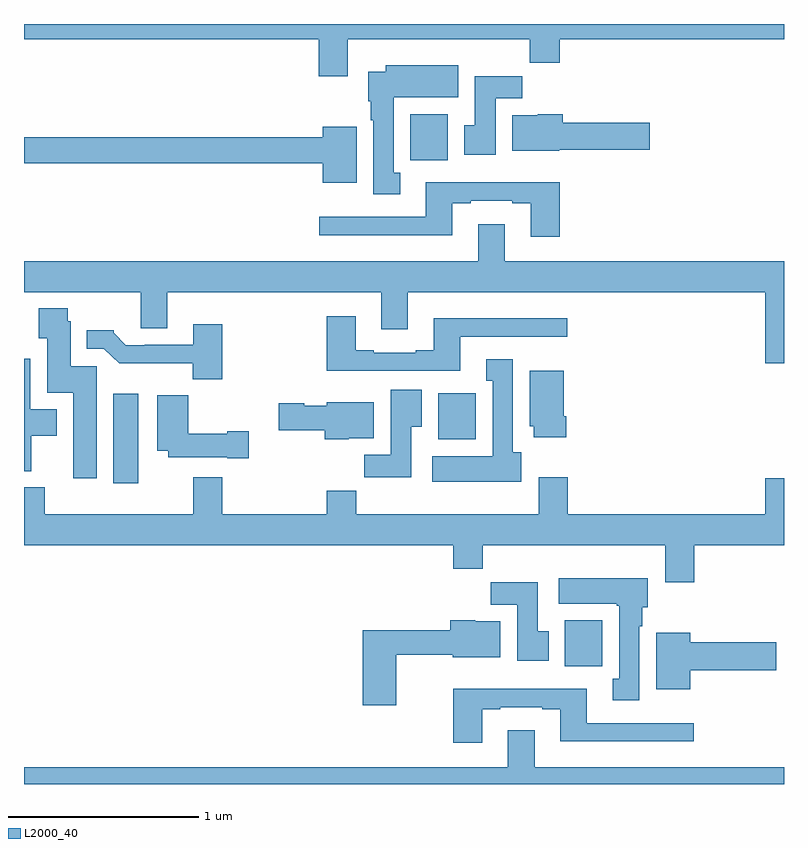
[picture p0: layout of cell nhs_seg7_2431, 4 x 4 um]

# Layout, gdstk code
import gdstk
lib = gdstk.Library(unit=1e-6, precision=1e-09)
def R(c, l, rs):  # rectangles x0, y0, x1, y1
    for r in rs: c.add(gdstk.rectangle(r[:2], r[2:], *l))
def P(c, l, *ps):  # polygons
    for p in ps: c.add(gdstk.Polygon(p, *l))
L2000_40 = (2000, 40)

nhs_seg7_2431 = lib.new_cell('nhs_seg7_2431')
R(nhs_seg7_2431, L2000_40, [(271.847,1026.62,272.044,1026.862), (269.471,1027.584,269.602,1028.053), (271.181,1027.814,271.378,1028.056), (271.034,1029.284,271.231,1029.526)])
P(nhs_seg7_2431, L2000_40, [(270.703,1029.92),(271.663,1029.92),(271.663,1029.796),(271.82,1029.796),(271.82,1029.92),(273,1029.92),(273,1030),(269,1030),(269,1029.92),(270.551,1029.92),(270.551,1029.726),(270.703,1029.726)],
  [(270.979,1029.218),(270.946,1029.218),(270.946,1029.614),(271.285,1029.614),(271.285,1029.784),(270.905,1029.784),(270.905,1029.748),(270.812,1029.748),(270.812,1029.594),(270.824,1029.594),(270.824,1029.494),(270.839,1029.494),(270.839,1029.105),(270.979,1029.105)],
  [(271.483,1029.608),(271.622,1029.608),(271.622,1029.726),(271.373,1029.726),(271.373,1029.468),(271.316,1029.468),(271.316,1029.312),(271.483,1029.312)],
  [(271.818,1029.338),(272.293,1029.338),(272.293,1029.48),(271.835,1029.48),(271.835,1029.526),(271.704,1029.526),(271.704,1029.52),(271.571,1029.52),(271.571,1029.332),(271.818,1029.332)],
  [(270.751,1029.46),(270.572,1029.46),(270.572,1029.404),(269,1029.404),(269,1029.268),(270.572,1029.268),(270.572,1029.164),(270.751,1029.164)],
  [(271.82,1029.166),(271.115,1029.166),(271.115,1028.985),(270.555,1028.985),(270.555,1028.888),(271.255,1028.888),(271.255,1029.057),(271.351,1029.057),(271.351,1029.069),(271.571,1029.069),(271.571,1029.057),(271.667,1029.057),(271.667,1028.88),(271.82,1028.88)],
  [(273,1028.752),(271.531,1028.752),(271.531,1028.947),(271.391,1028.947),(271.391,1028.752),(269,1028.752),(269,1028.588),(269.615,1028.588),(269.615,1028.398),(269.755,1028.398),(269.755,1028.588),(270.881,1028.588),(270.881,1028.394),(271.021,1028.394),(271.021,1028.588),(272.9,1028.588),(272.9,1028.214),(273,1028.214)],
  [(269.383,1028.199),(269.245,1028.199),(269.245,1028.436),(269.229,1028.436),(269.229,1028.503),(269.077,1028.503),(269.077,1028.347),(269.123,1028.347),(269.123,1028.06),(269.258,1028.06),(269.258,1027.608),(269.383,1027.608)],
  [(270.833,1028.175),(271.297,1028.175),(271.297,1028.355),(271.858,1028.355),(271.858,1028.452),(271.157,1028.452),(271.157,1028.284),(271.061,1028.284),(271.061,1028.271),(270.841,1028.271),(270.841,1028.284),(270.745,1028.284),(270.745,1028.461),(270.593,1028.461),(270.593,1028.174),(270.833,1028.174)],
  [(270.044,1028.419),(269.891,1028.419),(269.891,1028.313),(269.635,1028.313),(269.635,1028.31),(269.536,1028.31),(269.472,1028.374),(269.472,1028.389),(269.33,1028.389),(269.33,1028.292),(269.421,1028.292),(269.5,1028.214),(269.889,1028.214),(269.889,1028.129),(270.044,1028.129)],
  [(269.037,1027.832),(269.173,1027.832),(269.173,1027.972),(269.034,1027.972),(269.034,1028.239),(269,1028.239),(269,1027.646),(269.037,1027.646)],
  [(271.618,1027.746),(271.573,1027.746),(271.573,1028.236),(271.433,1028.236),(271.433,1028.123),(271.466,1028.123),(271.466,1027.726),(271.149,1027.726),(271.149,1027.592),(271.618,1027.592)],
  [(271.853,1027.936),(271.84,1027.936),(271.84,1028.176),(271.661,1028.176),(271.661,1027.884),(271.682,1027.884),(271.682,1027.824),(271.853,1027.824)],
  [(271.039,1027.88),(271.093,1027.88),(271.093,1028.074),(270.929,1028.074),(270.929,1027.732),(270.79,1027.732),(270.79,1027.614),(271.039,1027.614)],
  [(270.184,1027.856),(270.071,1027.856),(270.071,1027.843),(269.864,1027.843),(269.864,1028.047),(269.702,1028.047),(269.702,1027.754),(269.76,1027.754),(269.76,1027.721),(270.071,1027.721),(270.071,1027.714),(270.184,1027.714)],
  [(270.708,1027.82),(270.841,1027.82),(270.841,1028.008),(270.594,1028.008),(270.594,1027.99),(270.474,1027.99),(270.474,1028.003),(270.342,1028.003),(270.342,1027.861),(270.583,1027.861),(270.583,1027.814),(270.708,1027.814)],
  [(272.528,1027.256),(273,1027.256),(273,1027.609),(272.9,1027.609),(272.9,1027.42),(271.862,1027.42),(271.862,1027.615),(271.709,1027.615),(271.709,1027.42),(270.749,1027.42),(270.749,1027.544),(270.593,1027.544),(270.593,1027.42),(270.044,1027.42),(270.044,1027.615),(269.891,1027.615),(269.891,1027.42),(269.108,1027.42),(269.108,1027.561),(269,1027.561),(269,1027.256),(271.259,1027.256),(271.259,1027.132),(271.415,1027.132),(271.415,1027.256),(272.375,1027.256),(272.375,1027.062),(272.528,1027.062)],
  [(272.239,1026.83),(272.254,1026.83),(272.254,1026.93),(272.284,1026.93),(272.284,1027.084),(271.815,1027.084),(271.815,1026.95),(272.119,1026.95),(272.119,1026.937),(272.132,1026.937),(272.132,1026.554),(272.099,1026.554),(272.099,1026.441),(272.239,1026.441)],
  [(271.762,1026.804),(271.705,1026.804),(271.705,1027.063),(271.456,1027.063),(271.456,1026.944),(271.595,1026.944),(271.595,1026.648),(271.762,1026.648)],
  [(270.96,1026.679),(271.256,1026.679),(271.256,1026.668),(271.507,1026.668),(271.507,1026.856),(271.374,1026.856),(271.374,1026.862),(271.244,1026.862),(271.244,1026.808),(270.782,1026.808),(270.782,1026.414),(270.96,1026.414)],
  [(272.506,1026.599),(272.959,1026.599),(272.959,1026.746),(272.506,1026.746),(272.506,1026.796),(272.327,1026.796),(272.327,1026.5),(272.506,1026.5)],
  [(271.411,1026.393),(271.507,1026.393),(271.507,1026.405),(271.727,1026.405),(271.727,1026.393),(271.823,1026.393),(271.823,1026.224),(272.524,1026.224),(272.524,1026.321),(271.963,1026.321),(271.963,1026.502),(271.259,1026.502),(271.259,1026.216),(271.411,1026.216)],
  [(271.687,1026.283),(271.547,1026.283),(271.547,1026.088),(269,1026.088),(269,1026),(273,1026),(273,1026.088),(271.687,1026.088)])

lib.write_gds('nhs_seg7_2431.gds')
